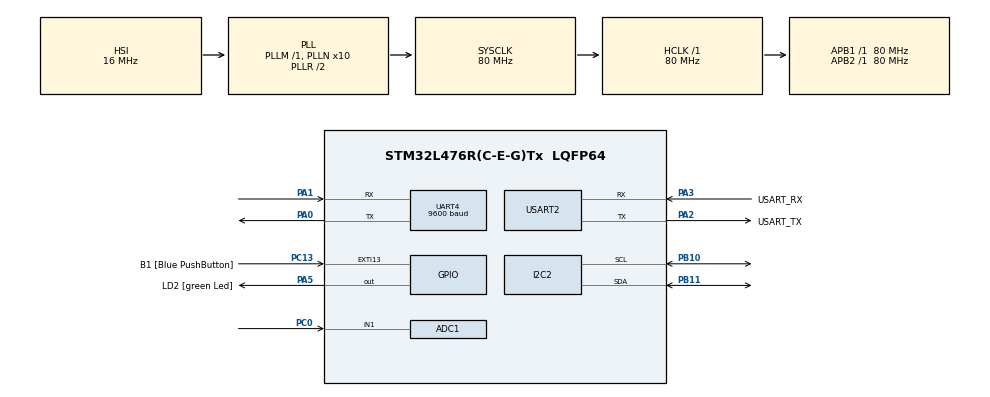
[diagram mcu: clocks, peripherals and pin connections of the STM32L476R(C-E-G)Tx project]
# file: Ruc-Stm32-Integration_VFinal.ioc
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ADC1.AutoInjectedConv=DISABLE
ADC1.Channel-0\#ChannelRegularConversion=ADC_CHANNEL_1
ADC1.ClockPrescaler=ADC_CLOCK_ASYNC_DIV1
ADC1.ContinuousConvMode=DISABLE
ADC1.DMAContinuousRequests=DISABLE
ADC1.DataAlign=ADC_DATAALIGN_RIGHT
ADC1.DiscontinuousConvMode=ENABLE
ADC1.EOCSelection=ADC_EOC_SINGLE_CONV
ADC1.EnableAnalogWatchDog1=false
ADC1.EnableAnalogWatchDog2=false
ADC1.EnableAnalogWatchDog3=false
ADC1.EnableInjectedConversion=DISABLE
ADC1.EnableRegularConversion=ENABLE
ADC1.ExternalTrigConv=ADC_SOFTWARE_START
ADC1.ExternalTrigConvEdge=ADC_EXTERNALTRIGCONVEDGE_NONE
ADC1.InjectedDiscontinuousConvMode=DISABLE
ADC1.LowPowerAutoWait=DISABLE
ADC1.NbrOfConversion=1
ADC1.NbrOfConversionFlag=1
ADC1.NbrOfDiscConversion=1
ADC1.OffsetNumber-0\#ChannelRegularConversion=ADC_OFFSET_NONE
ADC1.Overrun=ADC_OVR_DATA_PRESERVED
ADC1.OversamplingMode=DISABLE
ADC1.Rank-0\#ChannelRegularConversion=1
ADC1.Resolution=ADC_RESOLUTION_12B
ADC1.SamplingTime-0\#ChannelRegularConversion=ADC_SAMPLETIME_2CYCLES_5
ADC1.ScanConvMode=ADC_SCAN_DISABLE
ADC1.SingleDiff-0\#ChannelRegularConversion=ADC_SINGLE_ENDED
ADC1.master=1
I2C2.OwnAddress2Masks=I2C_OA2_NOMASK
Mcu.Family=STM32L4
Mcu.Name=STM32L476R(C-E-G)Tx
Mcu.Package=LQFP64
NVIC.EXTI15_10_IRQn=true\:0\:0\:false\:false\:true
NVIC.I2C2_ER_IRQn=true\:0\:0\:false\:false\:true
NVIC.I2C2_EV_IRQn=true\:0\:0\:false\:false\:true
NVIC.PriorityGroup=NVIC_PRIORITYGROUP_4
NVIC.RCC_IRQn=true\:0\:0\:false\:false\:true
NVIC.UART4_IRQn=true\:0\:0\:false\:false\:true
PA0.Mode=Asynchronous
PA0.Signal=UART4_TX
PA1.Mode=Asynchronous
PA1.Signal=UART4_RX
PA13.GPIO_Label=TMS
PA13.Signal=SYS_JTMS-SWDIO
PA14.GPIO_Label=TCK
PA14.Signal=SYS_JTCK-SWCLK
PA2.GPIO_Label=USART_TX
PA2.GPIO_Mode=GPIO_MODE_AF_PP
PA2.GPIO_PuPd=GPIO_NOPULL
PA2.GPIO_Speed=GPIO_SPEED_FREQ_VERY_HIGH
PA2.Mode=Asynchronous
PA2.Signal=USART2_TX
PA3.GPIO_Label=USART_RX
PA3.GPIO_Mode=GPIO_MODE_AF_PP
PA3.GPIO_PuPd=GPIO_NOPULL
PA3.GPIO_Speed=GPIO_SPEED_FREQ_VERY_HIGH
PA3.Mode=Asynchronous
PA3.Signal=USART2_RX
PA5.GPIO_Label=LD2 [green Led]
PA5.GPIO_ModeDefaultOutputPP=GPIO_MODE_OUTPUT_PP
PA5.GPIO_PuPd=GPIO_NOPULL
PA5.GPIO_Speed=GPIO_SPEED_FREQ_LOW
PA5.Signal=GPIO_Output
PB10.Mode=I2C
PB10.Signal=I2C2_SCL
PB11.Mode=I2C
PB11.Signal=I2C2_SDA
PB3.GPIO_Label=SWO
PB3.Signal=SYS_JTDO-SWO
PC0.Signal=ADCx_IN1
PC13.GPIO_Label=B1 [Blue PushButton]
PC13.GPIO_ModeDefaultEXTI=GPIO_MODE_IT_FALLING
PC13.GPIO_PuPd=GPIO_NOPULL
PC13.Signal=GPXTI13
PC14/OSC32_IN.Signal=RCC_OSC32_IN
PC15/OSC32_OUT.Signal=RCC_OSC32_OUT
PH0/OSC_IN.Signal=RCC_OSC_IN
PH1/OSC_OUT.Signal=RCC_OSC_OUT
ProjectManager.HeapSize=0x200
ProjectManager.StackSize=0x400
ProjectManager.TargetToolchain=EWARM
RCC.ADCFreq_Value=64000000
RCC.AHBFreq_Value=80000000
RCC.APB1Freq_Value=80000000
RCC.APB1TimFreq_Value=80000000
RCC.APB2Freq_Value=80000000
RCC.APB2TimFreq_Value=80000000
RCC.ClockTypeHCLK=RCC_CLOCKTYPE_HCLK
RCC.ClockTypePCLK1=RCC_CLOCKTYPE_PCLK1
RCC.ClockTypePCLK2=RCC_CLOCKTYPE_PCLK2
RCC.ClockTypeSysClk=RCC_CLOCKTYPE_SYSCLK
RCC.CortexFreq_Value=80000000
RCC.EnableCSSLSE=false
RCC.EnbaleCSS=false
RCC.HCLKFreq_Value=80000000
RCC.HSE_VALUE=8000000
RCC.HSI_VALUE=16000000
RCC.LSE_VALUE=32768
RCC.MSI_VALUE=4000000
RCC.PLLN=10
RCC.PLLSourceVirtual=RCC_PLLSOURCE_HSI
RCC.PREFETCH_ENABLE=1
RCC.SYSCLKFreq_VALUE=80000000
RCC.SYSCLKSource=RCC_SYSCLKSOURCE_PLLCLK
RCC.USBFreq_Value=64000000
RCC.VCOOutputFreq_Value=160000000
SH.ADCx_IN1.0=ADC1_IN1,IN1-Single-Ended
UART4.BaudRate=9600
UART4.HwFlowCtl-Asynchronous=UART_HWCONTROL_NONE
UART4.WordLength=WORDLENGTH_8B
USART2.HwFlowCtl-Asynchronous=UART_HWCONTROL_NONE
USART2.VirtualMode-Asynchronous=VM_ASYNC
USART2.WordLength=WORDLENGTH_8B
board=NUCLEO-L476RG

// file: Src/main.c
/**
  ******************************************************************************
  * File Name          : main.c
  * Description        : Main program body
  ******************************************************************************
  *
  * COPYRIGHT(c) 2017 STMicroelectronics
  *
  * Redistribution and use in source and binary forms, with or without modification,
  * are permitted provided that the following conditions are met:
  *   1. Redistributions of source code must retain the above copyright notice,
  *      this list of conditions and the following disclaimer.
  *   2. Redistributions in binary form must reproduce the above copyright notice,
  *      this list of conditions and the following disclaimer in the documentation
  *      and/or other materials provided with the distribution.
  *   3. Neither the name of STMicroelectronics nor the names of its contributors
  *      may be used to endorse or promote products derived from this software
  *      without specific prior written permission.
  *
  * THIS SOFTWARE IS PROVIDED BY THE COPYRIGHT HOLDERS AND CONTRIBUTORS "AS IS"
  * AND ANY EXPRESS OR IMPLIED WARRANTIES, INCLUDING, BUT NOT LIMITED TO, THE
  * IMPLIED WARRANTIES OF MERCHANTABILITY AND FITNESS FOR A PARTICULAR PURPOSE ARE
  * DISCLAIMED. IN NO EVENT SHALL THE COPYRIGHT HOLDER OR CONTRIBUTORS BE LIABLE
  * FOR ANY DIRECT, INDIRECT, INCIDENTAL, SPECIAL, EXEMPLARY, OR CONSEQUENTIAL
  * DAMAGES (INCLUDING, BUT NOT LIMITED TO, PROCUREMENT OF SUBSTITUTE GOODS OR
  * SERVICES; LOSS OF USE, DATA, OR PROFITS; OR BUSINESS INTERRUPTION) HOWEVER
  * CAUSED AND ON ANY THEORY OF LIABILITY, WHETHER IN CONTRACT, STRICT LIABILITY,
  * OR TORT (INCLUDING NEGLIGENCE OR OTHERWISE) ARISING IN ANY WAY OUT OF THE USE
  * OF THIS SOFTWARE, EVEN IF ADVISED OF THE POSSIBILITY OF SUCH DAMAGE.
  *
  ******************************************************************************
  */
#include "main.h"
#include "stm32l4xx_hal.h"

/* USER CODE BEGIN Includes */
#include "acquisitionDonnees.h"
/* USER CODE END Includes */

ADC_HandleTypeDef hadc1;
I2C_HandleTypeDef hi2c2;
UART_HandleTypeDef huart4;
UART_HandleTypeDef huart2;

/* USER CODE BEGIN PV */
/* Private variables ---------------------------------------------------------*/
  __IO uint8_t demande[3]={0x03,0x00,0x04}; // Buffer pour la requete I2C
  __IO uint8_t recevoir[8];                 // Buffer pour la reponse I2C

  float humidite=0.0;           // recois la valeur de la fonction getHumidite
  float temperature=0.0;        // recois la valeur de la fonction getTemperature
  float poids =0.0;             // recois la valeur de la fonction getPoids
  char flag=0;                  // Gere l'interruption au bouton (push button blue)

/* USER CODE END PV */

void SystemClock_Config(void);
void Error_Handler(void);
static void MX_GPIO_Init(void);
static void MX_UART4_Init(void);
static void MX_USART2_UART_Init(void);
static void MX_ADC1_Init(void);
static void MX_I2C2_Init(void);

/* USER CODE BEGIN PFP */
/* Private function prototypes -----------------------------------------------*/

/* USER CODE END PFP */

int main(void)
{

  /* MCU Configuration----------------------------------------------------------*/

  /* Reset of all peripherals, Initializes the Flash interface and the Systick. */
  HAL_Init();

  /* Configure the system clock */
  SystemClock_Config();

  /* Initialize all configured peripherals */
  MX_GPIO_Init();
  MX_UART4_Init();
  MX_USART2_UART_Init();
  MX_ADC1_Init();
  MX_I2C2_Init();

  /* Infinite loop */
  /* USER CODE BEGIN WHILE */
  while (1)
  {// Debut boucle de traitement principale
  /* USER CODE END WHILE */

  /* USER CODE BEGIN 3 */
    /*
    * flag passe à 1 lors d'un appui sur le bouton poussoir
    * flag passe a 0 en fin de traitement
    * flag est gere par la routine d'interruption du user button (bouton bleu)
    * voir stm32l4xx_it.c pour la routine d'inter
    */
    if (flag >= 1){
      HAL_GPIO_TogglePin(GPIOA, GPIO_PIN_5);

      poids= getPoids();                        // Recuperation de la valeur de poids
      connexionRecuperationCapteur();           // Connection au capteur de température et d'humidité
      temperature = getTemperature();           // Recuperation de la valeur de temperature
      humidite = getHumidite();                 // Recuperation de la valeur d'humidite
      sendData(poids,temperature,humidite);     // Envoie de la trame avec les valeurs recupere (ordre data : poids, temp, hygro)
      HAL_Delay(100);                           // Delai anti-rebond pour le push button
      flag = 0; // fin traitement

   }// Fin Condition

  }// Fin boucle de traitement principale
  /* USER CODE END 3 */

}// Fin du main

/** System Clock Configuration
*/
void SystemClock_Config(void)
{

  RCC_OscInitTypeDef RCC_OscInitStruct;
  RCC_ClkInitTypeDef RCC_ClkInitStruct;
  RCC_PeriphCLKInitTypeDef PeriphClkInit;

    /**Initializes the CPU, AHB and APB busses clocks
    */
  RCC_OscInitStruct.OscillatorType = RCC_OSCILLATORTYPE_HSI;
  RCC_OscInitStruct.HSIState = RCC_HSI_ON;
  RCC_OscInitStruct.HSICalibrationValue = 16;
  RCC_OscInitStruct.PLL.PLLState = RCC_PLL_ON;
  RCC_OscInitStruct.PLL.PLLSource = RCC_PLLSOURCE_HSI;
  RCC_OscInitStruct.PLL.PLLM = 1;
  RCC_OscInitStruct.PLL.PLLN = 10;
  RCC_OscInitStruct.PLL.PLLP = RCC_PLLP_DIV7;
  RCC_OscInitStruct.PLL.PLLQ = RCC_PLLQ_DIV2;
  RCC_OscInitStruct.PLL.PLLR = RCC_PLLR_DIV2;
  if (HAL_RCC_OscConfig(&RCC_OscInitStruct) != HAL_OK)
  {
    Error_Handler();
  }

    /**Initializes the CPU, AHB and APB busses clocks
    */
  RCC_ClkInitStruct.ClockType = RCC_CLOCKTYPE_HCLK|RCC_CLOCKTYPE_SYSCLK
                              |RCC_CLOCKTYPE_PCLK1|RCC_CLOCKTYPE_PCLK2;
  RCC_ClkInitStruct.SYSCLKSource = RCC_SYSCLKSOURCE_PLLCLK;
  RCC_ClkInitStruct.AHBCLKDivider = RCC_SYSCLK_DIV1;
  RCC_ClkInitStruct.APB1CLKDivider = RCC_HCLK_DIV1;
  RCC_ClkInitStruct.APB2CLKDivider = RCC_HCLK_DIV1;

  if (HAL_RCC_ClockConfig(&RCC_ClkInitStruct, FLASH_LATENCY_4) != HAL_OK)
  {
    Error_Handler();
  }

  PeriphClkInit.PeriphClockSelection = RCC_PERIPHCLK_USART2|RCC_PERIPHCLK_UART4
                              |RCC_PERIPHCLK_I2C2|RCC_PERIPHCLK_ADC;
  PeriphClkInit.Usart2ClockSelection = RCC_USART2CLKSOURCE_PCLK1;
  PeriphClkInit.Uart4ClockSelection = RCC_UART4CLKSOURCE_PCLK1;
  PeriphClkInit.I2c2ClockSelection = RCC_I2C2CLKSOURCE_PCLK1;
  PeriphClkInit.AdcClockSelection = RCC_ADCCLKSOURCE_PLLSAI1;
  PeriphClkInit.PLLSAI1.PLLSAI1Source = RCC_PLLSOURCE_HSI;
  PeriphClkInit.PLLSAI1.PLLSAI1M = 1;
  PeriphClkInit.PLLSAI1.PLLSAI1N = 8;
  PeriphClkInit.PLLSAI1.PLLSAI1P = RCC_PLLP_DIV7;
  PeriphClkInit.PLLSAI1.PLLSAI1Q = RCC_PLLQ_DIV2;
  PeriphClkInit.PLLSAI1.PLLSAI1R = RCC_PLLR_DIV2;
  PeriphClkInit.PLLSAI1.PLLSAI1ClockOut = RCC_PLLSAI1_ADC1CLK;
  if (HAL_RCCEx_PeriphCLKConfig(&PeriphClkInit) != HAL_OK)
  {
    Error_Handler();
  }

    /**Configure the main internal regulator output voltage
    */
  if (HAL_PWREx_ControlVoltageScaling(PWR_REGULATOR_VOLTAGE_SCALE1) != HAL_OK)
  {
    Error_Handler();
  }

    /**Configure the Systick interrupt time
    */
  HAL_SYSTICK_Config(HAL_RCC_GetHCLKFreq()/1000);

    /**Configure the Systick
    */
  HAL_SYSTICK_CLKSourceConfig(SYSTICK_CLKSOURCE_HCLK);

  /* SysTick_IRQn interrupt configuration */
  HAL_NVIC_SetPriority(SysTick_IRQn, 0, 0);
}

/* ADC1 init function */
static void MX_ADC1_Init(void)
{

  ADC_MultiModeTypeDef multimode;
  ADC_ChannelConfTypeDef sConfig;

    /**Common config
    */
  hadc1.Instance = ADC1;
  hadc1.Init.ClockPrescaler = ADC_CLOCK_ASYNC_DIV1;
  hadc1.Init.Resolution = ADC_RESOLUTION_12B;
  hadc1.Init.DataAlign = ADC_DATAALIGN_RIGHT;
  hadc1.Init.ScanConvMode = ADC_SCAN_DISABLE;
  hadc1.Init.EOCSelection = ADC_EOC_SINGLE_CONV;
  hadc1.Init.LowPowerAutoWait = DISABLE;
  hadc1.Init.ContinuousConvMode = DISABLE;
  hadc1.Init.NbrOfConversion = 1;
  hadc1.Init.DiscontinuousConvMode = ENABLE;
  hadc1.Init.NbrOfDiscConversion = 1;
  hadc1.Init.ExternalTrigConv = ADC_SOFTWARE_START;
  hadc1.Init.ExternalTrigConvEdge = ADC_EXTERNALTRIGCONVEDGE_NONE;
  hadc1.Init.DMAContinuousRequests = DISABLE;
  hadc1.Init.Overrun = ADC_OVR_DATA_PRESERVED;
  hadc1.Init.OversamplingMode = DISABLE;
  if (HAL_ADC_Init(&hadc1) != HAL_OK)
  {
    Error_Handler();
  }

    /**Configure the ADC multi-mode
    */
  multimode.Mode = ADC_MODE_INDEPENDENT;
  if (HAL_ADCEx_MultiModeConfigChannel(&hadc1, &multimode) != HAL_OK)
  {
    Error_Handler();
  }

    /**Configure Regular Channel
    */
  sConfig.Channel = ADC_CHANNEL_1;
  sConfig.Rank = 1;
  sConfig.SamplingTime = ADC_SAMPLETIME_2CYCLES_5;
  sConfig.SingleDiff = ADC_SINGLE_ENDED;
  sConfig.OffsetNumber = ADC_OFFSET_NONE;
  sConfig.Offset = 0;
  if (HAL_ADC_ConfigChannel(&hadc1, &sConfig) != HAL_OK)
  {
    Error_Handler();
  }

}

/* I2C2 init function */
static void MX_I2C2_Init(void)
{

  hi2c2.Instance = I2C2;
  hi2c2.Init.Timing = 0x10909CEC;
  hi2c2.Init.OwnAddress1 = 0;
  hi2c2.Init.AddressingMode = I2C_ADDRESSINGMODE_7BIT;
  hi2c2.Init.DualAddressMode = I2C_DUALADDRESS_DISABLE;
  hi2c2.Init.OwnAddress2 = 0;
  hi2c2.Init.OwnAddress2Masks = I2C_OA2_NOMASK;
  hi2c2.Init.GeneralCallMode = I2C_GENERALCALL_DISABLE;
  hi2c2.Init.NoStretchMode = I2C_NOSTRETCH_DISABLE;
  if (HAL_I2C_Init(&hi2c2) != HAL_OK)
  {
    Error_Handler();
  }

    /**Configure Analogue filter
    */
  if (HAL_I2CEx_ConfigAnalogFilter(&hi2c2, I2C_ANALOGFILTER_ENABLE) != HAL_OK)
  {
    Error_Handler();
  }

    /**Configure Digital filter
    */
  if (HAL_I2CEx_ConfigDigitalFilter(&hi2c2, 0) != HAL_OK)
  {
    Error_Handler();
  }

}

/* UART4 init function */
static void MX_UART4_Init(void)
{

  huart4.Instance = UART4;
  huart4.Init.BaudRate = 9600;
  huart4.Init.WordLength = UART_WORDLENGTH_8B;
  huart4.Init.StopBits = UART_STOPBITS_1;
  huart4.Init.Parity = UART_PARITY_NONE;
  huart4.Init.Mode = UART_MODE_TX_RX;
  huart4.Init.HwFlowCtl = UART_HWCONTROL_NONE;
  huart4.Init.OverSampling = UART_OVERSAMPLING_16;
  huart4.Init.OneBitSampling = UART_ONE_BIT_SAMPLE_DISABLE;
  huart4.AdvancedInit.AdvFeatureInit = UART_ADVFEATURE_NO_INIT;
  if (HAL_UART_Init(&huart4) != HAL_OK)
  {
    Error_Handler();
  }

}

/* USART2 init function */
static void MX_USART2_UART_Init(void)
{

  huart2.Instance = USART2;
  huart2.Init.BaudRate = 115200;
  huart2.Init.WordLength = UART_WORDLENGTH_8B;
  huart2.Init.StopBits = UART_STOPBITS_1;
  huart2.Init.Parity = UART_PARITY_NONE;
  huart2.Init.Mode = UART_MODE_TX_RX;
  huart2.Init.HwFlowCtl = UART_HWCONTROL_NONE;
  huart2.Init.OverSampling = UART_OVERSAMPLING_16;
  huart2.Init.OneBitSampling = UART_ONE_BIT_SAMPLE_DISABLE;
  huart2.AdvancedInit.AdvFeatureInit = UART_ADVFEATURE_NO_INIT;
  if (HAL_UART_Init(&huart2) != HAL_OK)
  {
    Error_Handler();
  }

}

/** Configure pins as
        * Analog
        * Input
        * Output
        * EVENT_OUT
        * EXTI
*/
static void MX_GPIO_Init(void)
{

  GPIO_InitTypeDef GPIO_InitStruct;

  /* GPIO Ports Clock Enable */
  __HAL_RCC_GPIOC_CLK_ENABLE();
  __HAL_RCC_GPIOH_CLK_ENABLE();
  __HAL_RCC_GPIOA_CLK_ENABLE();
  __HAL_RCC_GPIOB_CLK_ENABLE();

  /*Configure GPIO pin Output Level */
  HAL_GPIO_WritePin(LD2_GPIO_Port, LD2_Pin, GPIO_PIN_RESET);

  /*Configure GPIO pin : B1_Pin */
  GPIO_InitStruct.Pin = B1_Pin;
  GPIO_InitStruct.Mode = GPIO_MODE_IT_FALLING;
  GPIO_InitStruct.Pull = GPIO_NOPULL;
  HAL_GPIO_Init(B1_GPIO_Port, &GPIO_InitStruct);

  /*Configure GPIO pin : LD2_Pin */
  GPIO_InitStruct.Pin = LD2_Pin;
  GPIO_InitStruct.Mode = GPIO_MODE_OUTPUT_PP;
  GPIO_InitStruct.Pull = GPIO_NOPULL;
  GPIO_InitStruct.Speed = GPIO_SPEED_FREQ_LOW;
  HAL_GPIO_Init(LD2_GPIO_Port, &GPIO_InitStruct);

  /* EXTI interrupt init*/
  HAL_NVIC_SetPriority(EXTI15_10_IRQn, 0, 0);
  HAL_NVIC_EnableIRQ(EXTI15_10_IRQn);

}

void Error_Handler(void)
{
  while(1)
  {
  }
}

/************************ (C) COPYRIGHT STMicroelectronics *****END OF FILE****/
